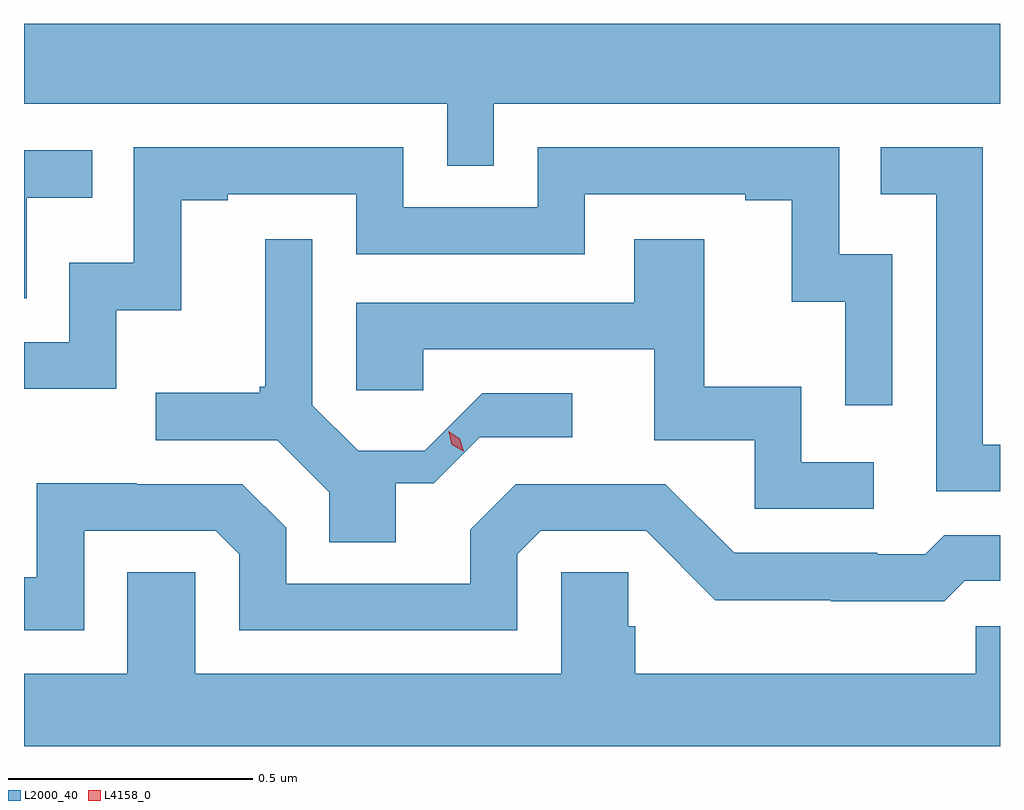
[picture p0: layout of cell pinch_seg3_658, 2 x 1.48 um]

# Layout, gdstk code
import gdstk
lib = gdstk.Library(unit=1e-6, precision=1e-09)
def P(c, l, *ps):  # polygons
    for p in ps: c.add(gdstk.Polygon(p, *l))
L2000_40 = (2000, 40)
L4158_0 = (4158, 0)

pinch_seg3_658 = lib.new_cell('pinch_seg3_658')
P(pinch_seg3_658, L2000_40, [(1047.57,678.272),(1048.607,678.272),(1048.607,678.436),(1046.607,678.436),(1046.607,678.272),(1047.474,678.272),(1047.474,678.145),(1047.57,678.145)],
  [(1048.607,677.574),(1048.572,677.574),(1048.572,678.183),(1048.363,678.183),(1048.363,678.087),(1048.476,678.087),(1048.476,677.478),(1048.607,677.478)],
  [(1048.386,677.964),(1048.278,677.964),(1048.278,678.183),(1047.66,678.183),(1047.66,678.06),(1047.384,678.06),(1047.384,678.183),(1046.832,678.183),(1046.832,677.947),(1046.7,677.947),(1046.7,677.784),(1046.607,677.784),(1046.607,677.688),(1046.796,677.688),(1046.796,677.849),(1046.929,677.849),(1046.929,678.075),(1047.025,678.075),(1047.025,678.087),(1047.288,678.087),(1047.288,677.964),(1047.756,677.964),(1047.756,678.087),(1048.085,678.087),(1048.085,678.075),(1048.18,678.075),(1048.18,677.867),(1048.29,677.867),(1048.29,677.655),(1048.386,677.655)],
  [(1046.613,678.08),(1046.747,678.08),(1046.747,678.177),(1046.607,678.177),(1046.607,677.874),(1046.613,677.874)],
  [(1047.369,677.495),(1047.447,677.495),(1047.541,677.589),(1047.73,677.589),(1047.73,677.679),(1047.546,677.679),(1047.428,677.561),(1047.292,677.561),(1047.198,677.655),(1047.198,677.995),(1047.101,677.995),(1047.101,677.692),(1047.09,677.692),(1047.09,677.68),(1046.877,677.68),(1046.877,677.583),(1047.126,677.583),(1047.233,677.476),(1047.233,677.374),(1047.369,677.374)],
  [(1048.348,677.538),(1048.2,677.538),(1048.2,677.692),(1048.001,677.692),(1048.001,677.995),(1047.857,677.995),(1047.857,677.865),(1047.288,677.865),(1047.288,677.685),(1047.425,677.685),(1047.425,677.769),(1047.899,677.769),(1047.899,677.583),(1048.104,677.583),(1048.104,677.442),(1048.348,677.442)],
  [(1046.73,677.397),(1047,677.397),(1047.048,677.349),(1047.048,677.193),(1047.618,677.193),(1047.618,677.349),(1047.666,677.397),(1047.882,677.397),(1048.024,677.255),(1048.26,677.255),(1048.26,677.253),(1048.493,677.253),(1048.535,677.295),(1048.607,677.295),(1048.607,677.388),(1048.493,677.388),(1048.454,677.349),(1048.355,677.349),(1048.355,677.352),(1048.062,677.352),(1047.921,677.493),(1047.615,677.493),(1047.521,677.399),(1047.521,677.289),(1047.144,677.289),(1047.144,677.403),(1047.054,677.493),(1046.838,677.493),(1046.838,677.495),(1046.633,677.495),(1046.633,677.302),(1046.607,677.302),(1046.607,677.193),(1046.73,677.193)],
  [(1048.607,677.202),(1048.557,677.202),(1048.557,677.104),(1047.86,677.104),(1047.86,677.202),(1047.845,677.202),(1047.845,677.312),(1047.708,677.312),(1047.708,677.104),(1046.958,677.104),(1046.958,677.312),(1046.819,677.312),(1046.819,677.104),(1046.607,677.104),(1046.607,676.956),(1048.607,676.956)])
P(pinch_seg3_658, L4158_0, [(1047.508,677.56),(1047.484,677.574),(1047.477,677.6),(1047.477,677.601),(1047.477,677.601),(1047.5,677.586),(1047.508,677.56),(1047.508,677.56)])

lib.write_gds('pinch_seg3_658.gds')
